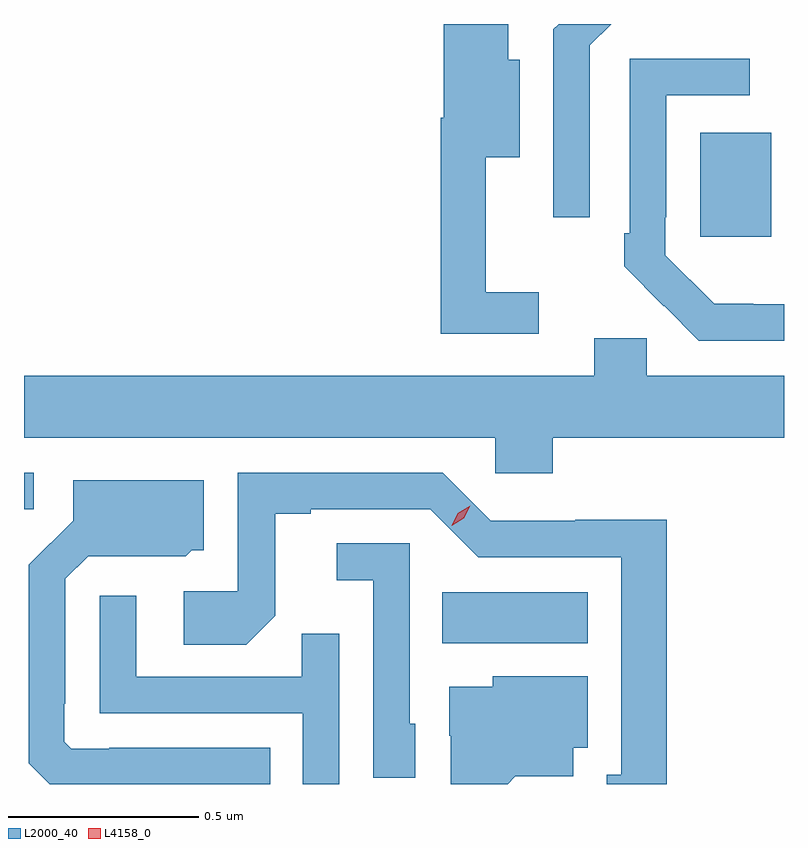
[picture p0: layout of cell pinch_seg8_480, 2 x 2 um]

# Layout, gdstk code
import gdstk
lib = gdstk.Library(unit=1e-6, precision=1e-09)
def R(c, l, rs):  # rectangles x0, y0, x1, y1
    for r in rs: c.add(gdstk.rectangle(r[:2], r[2:], *l))
def P(c, l, *ps):  # polygons
    for p in ps: c.add(gdstk.Polygon(p, *l))
L2000_40 = (2000, 40)
L4158_0 = (4158, 0)

pinch_seg8_480 = lib.new_cell('pinch_seg8_480')
R(pinch_seg8_480, L2000_40, [(115.612,1127.948,115.996,1128.082), (114.512,1128.3,114.538,1128.396), (116.291,1129.017,116.479,1129.291)])
P(pinch_seg8_480, L2000_40, [(115.867,1128.871),(115.727,1128.871),(115.727,1129.226),(115.816,1129.226),(115.816,1129.483),(115.786,1129.483),(115.786,1129.577),(115.616,1129.577),(115.616,1129.33),(115.609,1129.33),(115.609,1128.762),(115.867,1128.762)],
  [(116.001,1129.521),(116.057,1129.577),(115.919,1129.577),(115.905,1129.563),(115.905,1129.068),(116.001,1129.068)],
  [(116.512,1128.84),(116.431,1128.84),(116.431,1128.841),(116.328,1128.841),(116.199,1128.969),(116.199,1129.069),(116.202,1129.069),(116.202,1129.389),(116.422,1129.389),(116.422,1129.485),(116.106,1129.485),(116.106,1129.027),(116.091,1129.027),(116.091,1128.939),(116.196,1128.834),(116.197,1128.835),(116.288,1128.744),(116.512,1128.744)],
  [(115.904,1128.488),(116.512,1128.488),(116.512,1128.652),(116.151,1128.652),(116.151,1128.75),(116.012,1128.75),(116.012,1128.652),(114.512,1128.652),(114.512,1128.488),(115.752,1128.488),(115.752,1128.395),(115.904,1128.395)],
  [(116.203,1128.272),(115.962,1128.272),(115.962,1128.27),(115.74,1128.27),(115.614,1128.396),(115.074,1128.396),(115.074,1128.084),(114.933,1128.084),(114.933,1127.944),(115.097,1127.944),(115.173,1128.02),(115.173,1128.288),(115.267,1128.288),(115.267,1128.3),(115.581,1128.3),(115.707,1128.174),(116.084,1128.174),(116.084,1127.601),(116.045,1127.601),(116.045,1127.577),(116.203,1127.577)],
  [(115.16,1127.673),(114.736,1127.673),(114.736,1127.67),(114.636,1127.67),(114.618,1127.688),(114.618,1127.788),(114.621,1127.788),(114.621,1128.117),(114.681,1128.177),(114.804,1128.177),(114.804,1128.176),(114.938,1128.176),(114.954,1128.192),(114.985,1128.192),(114.985,1128.376),(114.641,1128.376),(114.641,1128.27),(114.525,1128.154),(114.525,1127.632),(114.58,1127.577),(115.16,1127.577)],
  [(115.542,1127.736),(115.527,1127.736),(115.527,1128.21),(115.335,1128.21),(115.335,1128.113),(115.431,1128.113),(115.431,1127.593),(115.542,1127.593)],
  [(115.341,1127.972),(115.243,1127.972),(115.243,1127.859),(114.807,1127.859),(114.807,1128.073),(114.711,1128.073),(114.711,1127.763),(115.245,1127.763),(115.245,1127.577),(115.341,1127.577)],
  [(115.805,1127.597),(115.957,1127.597),(115.957,1127.673),(115.996,1127.673),(115.996,1127.86),(115.746,1127.86),(115.746,1127.833),(115.631,1127.833),(115.631,1127.704),(115.635,1127.704),(115.635,1127.577),(115.785,1127.577)])
P(pinch_seg8_480, L4158_0, [(115.637,1128.257),(115.637,1128.258),(115.654,1128.29),(115.686,1128.309),(115.686,1128.309),(115.686,1128.309),(115.669,1128.276),(115.637,1128.257)])

lib.write_gds('pinch_seg8_480.gds')
